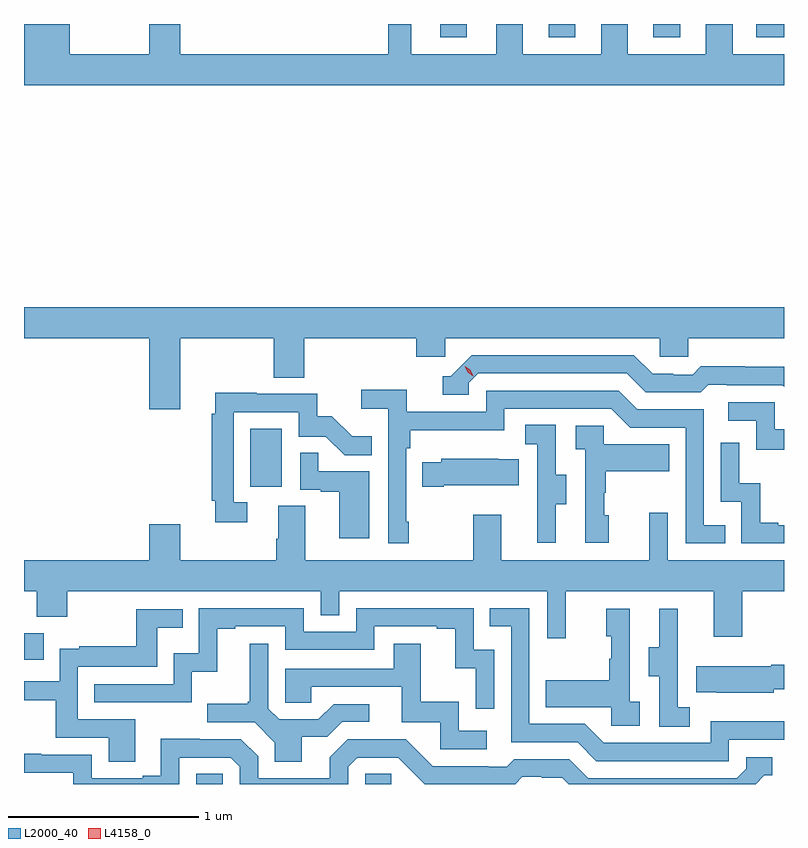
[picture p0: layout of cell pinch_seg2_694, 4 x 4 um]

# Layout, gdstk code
import gdstk
lib = gdstk.Library(unit=1e-6, precision=1e-09)
def R(c, l, rs):  # rectangles x0, y0, x1, y1
    for r in rs: c.add(gdstk.rectangle(r[:2], r[2:], *l))
def P(c, l, *ps):  # polygons
    for p in ps: c.add(gdstk.Polygon(p, *l))
L2000_40 = (2000, 40)
L4158_0 = (4158, 0)

pinch_seg2_694 = lib.new_cell('pinch_seg2_694')
R(pinch_seg2_694, L2000_40, [(1136.285,592.01,1136.424,592.064), (1137.174,592.01,1137.311,592.064), (1135.378,592.664,1135.481,592.804), (1136.57,593.574,1136.734,593.881), (1137.569,595.941,1137.709,596.01), (1138.139,595.941,1138.279,596.01), (1138.691,595.941,1138.831,596.01), (1139.231,595.941,1139.378,596.01)])
P(pinch_seg2_694, L2000_40, [(1139.378,595.852),(1139.107,595.852),(1139.107,596.01),(1138.967,596.01),(1138.967,595.852),(1138.555,595.852),(1138.555,596.01),(1138.415,596.01),(1138.415,595.852),(1138.003,595.852),(1138.003,596.01),(1137.864,596.01),(1137.864,595.852),(1137.415,595.852),(1137.415,596.01),(1137.294,596.01),(1137.294,595.852),(1136.2,595.852),(1136.2,596.01),(1136.036,596.01),(1136.036,595.852),(1135.618,595.852),(1135.618,596.01),(1135.378,596.01),(1135.378,595.688),(1139.378,595.688)],
  [(1136.2,594.356),(1136.692,594.356),(1136.692,594.148),(1136.852,594.148),(1136.852,594.356),(1137.443,594.356),(1137.443,594.258),(1137.594,594.258),(1137.594,594.356),(1138.725,594.356),(1138.725,594.258),(1138.875,594.258),(1138.875,594.356),(1139.378,594.356),(1139.378,594.52),(1135.378,594.52),(1135.378,594.356),(1136.036,594.356),(1136.036,593.982),(1136.2,593.982)],
  [(1137.72,594.123),(1137.768,594.171),(1138.551,594.171),(1138.65,594.072),(1138.939,594.072),(1138.978,594.111),(1139.077,594.111),(1139.077,594.108),(1139.37,594.108),(1139.378,594.1),(1139.378,594.205),(1139.172,594.205),(1139.172,594.208),(1138.939,594.208),(1138.897,594.165),(1138.794,594.165),(1138.794,594.168),(1138.687,594.168),(1138.588,594.267),(1137.735,594.267),(1137.624,594.156),(1137.581,594.156),(1137.581,594.06),(1137.72,594.06)],
  [(1137.403,593.389),(1137.39,593.389),(1137.39,593.777),(1137.41,593.777),(1137.41,593.873),(1137.906,593.873),(1137.906,593.985),(1138.47,593.985),(1138.569,593.886),(1138.86,593.886),(1138.86,593.277),(1139.069,593.277),(1139.069,593.373),(1138.956,593.373),(1138.956,593.982),(1138.606,593.982),(1138.507,594.081),(1137.81,594.081),(1137.81,593.97),(1137.392,593.97),(1137.392,594.086),(1137.153,594.086),(1137.153,593.984),(1137.294,593.984),(1137.294,593.277),(1137.403,593.277)],
  [(1136.554,593.493),(1136.481,593.493),(1136.481,593.967),(1136.823,593.967),(1136.823,593.838),(1136.967,593.838),(1137.065,593.74),(1137.209,593.74),(1137.209,593.839),(1137.105,593.839),(1136.998,593.946),(1136.922,593.946),(1136.922,594.063),(1136.603,594.063),(1136.603,594.068),(1136.384,594.068),(1136.384,593.96),(1136.365,593.96),(1136.365,593.5),(1136.384,593.5),(1136.384,593.388),(1136.554,593.388)],
  [(1139.378,593.877),(1139.328,593.877),(1139.328,594.018),(1139.085,594.018),(1139.085,593.922),(1139.232,593.922),(1139.232,593.769),(1139.378,593.769)],
  [(1138.177,593.482),(1138.231,593.482),(1138.231,593.637),(1138.176,593.637),(1138.176,593.9),(1138.017,593.9),(1138.017,593.797),(1138.08,593.797),(1138.08,593.493),(1138.079,593.493),(1138.079,593.28),(1138.177,593.28)],
  [(1138.456,593.424),(1138.431,593.424),(1138.431,593.543),(1138.441,593.543),(1138.441,593.657),(1138.775,593.657),(1138.775,593.797),(1138.428,593.797),(1138.428,593.895),(1138.281,593.895),(1138.281,593.771),(1138.332,593.771),(1138.332,593.28),(1138.456,593.28)],
  [(1139.378,593.373),(1139.347,593.373),(1139.347,593.386),(1139.252,593.386),(1139.252,593.594),(1139.142,593.594),(1139.142,593.806),(1139.046,593.806),(1139.046,593.496),(1139.154,593.496),(1139.154,593.277),(1139.378,593.277)],
  [(1137.196,593.655),(1136.927,593.655),(1136.927,593.753),(1136.832,593.753),(1136.832,593.559),(1136.939,593.559),(1136.939,593.547),(1137.038,593.547),(1137.038,593.304),(1137.196,593.304)],
  [(1137.586,593.582),(1137.983,593.582),(1137.983,593.719),(1137.875,593.719),(1137.875,593.722),(1137.573,593.722),(1137.573,593.704),(1137.475,593.704),(1137.475,593.575),(1137.586,593.575)],
  [(1138.229,593.024),(1139.009,593.024),(1139.009,592.785),(1139.157,592.785),(1139.157,593.024),(1139.378,593.024),(1139.378,593.188),(1138.767,593.188),(1138.767,593.437),(1138.67,593.437),(1138.67,593.188),(1137.889,593.188),(1137.889,593.428),(1137.742,593.428),(1137.742,593.188),(1136.857,593.188),(1136.857,593.474),(1136.717,593.474),(1136.717,593.3),(1136.705,593.3),(1136.705,593.188),(1136.2,593.188),(1136.2,593.377),(1136.036,593.377),(1136.036,593.188),(1135.378,593.188),(1135.378,593.024),(1135.445,593.024),(1135.445,592.889),(1135.605,592.889),(1135.605,593.024),(1136.94,593.024),(1136.94,592.897),(1137.036,592.897),(1137.036,593.024),(1138.131,593.024),(1138.131,592.776),(1138.229,592.776)],
  [(1137.852,592.716),(1137.744,592.716),(1137.744,592.935),(1137.126,592.935),(1137.126,592.812),(1136.85,592.812),(1136.85,592.935),(1136.298,592.935),(1136.298,592.699),(1136.166,592.699),(1136.166,592.536),(1135.747,592.536),(1135.747,592.44),(1136.262,592.44),(1136.262,592.601),(1136.395,592.601),(1136.395,592.827),(1136.491,592.827),(1136.491,592.839),(1136.754,592.839),(1136.754,592.716),(1137.222,592.716),(1137.222,592.839),(1137.551,592.839),(1137.551,592.827),(1137.647,592.827),(1137.647,592.619),(1137.756,592.619),(1137.756,592.407),(1137.852,592.407)],
  [(1139.088,592.242),(1139.378,592.242),(1139.378,592.339),(1138.992,592.339),(1138.992,592.227),(1138.428,592.227),(1138.329,592.326),(1138.038,592.326),(1138.038,592.935),(1137.829,592.935),(1137.829,592.839),(1137.942,592.839),(1137.942,592.23),(1138.292,592.23),(1138.391,592.131),(1139.088,592.131)],
  [(1138.882,592.415),(1138.818,592.415),(1138.818,592.719),(1138.82,592.719),(1138.82,592.933),(1138.721,592.933),(1138.721,592.731),(1138.667,592.731),(1138.667,592.576),(1138.722,592.576),(1138.722,592.312),(1138.882,592.312)],
  [(1138.618,592.442),(1138.566,592.442),(1138.566,592.933),(1138.442,592.933),(1138.442,592.788),(1138.468,592.788),(1138.468,592.67),(1138.458,592.67),(1138.458,592.555),(1138.123,592.555),(1138.123,592.415),(1138.47,592.415),(1138.47,592.317),(1138.618,592.317)],
  [(1135.963,592.35),(1135.662,592.35),(1135.662,592.626),(1136.079,592.626),(1136.079,592.832),(1136.213,592.832),(1136.213,592.929),(1135.968,592.929),(1135.968,592.735),(1135.669,592.735),(1135.669,592.723),(1135.566,592.723),(1135.566,592.551),(1135.378,592.551),(1135.378,592.45),(1135.546,592.45),(1135.546,592.254),(1135.823,592.254),(1135.823,592.126),(1135.963,592.126)],
  [(1136.839,592.258),(1136.974,592.258),(1137.054,592.338),(1137.196,592.338),(1137.196,592.431),(1137.008,592.431),(1136.927,592.35),(1136.721,592.35),(1136.664,592.407),(1136.664,592.747),(1136.567,592.747),(1136.567,592.444),(1136.556,592.444),(1136.556,592.432),(1136.343,592.432),(1136.343,592.335),(1136.592,592.335),(1136.699,592.228),(1136.699,592.126),(1136.839,592.126)],
  [(1137.814,592.29),(1137.666,592.29),(1137.666,592.444),(1137.467,592.444),(1137.467,592.747),(1137.323,592.747),(1137.323,592.617),(1136.754,592.617),(1136.754,592.437),(1136.891,592.437),(1136.891,592.521),(1137.365,592.521),(1137.365,592.335),(1137.57,592.335),(1137.57,592.194),(1137.814,592.194)],
  [(1139.325,592.508),(1139.378,592.508),(1139.378,592.638),(1139.312,592.638),(1139.312,592.63),(1138.915,592.63),(1138.915,592.493),(1139.023,592.493),(1139.023,592.49),(1139.325,592.49)],
  [(1136.196,592.149),(1136.466,592.149),(1136.514,592.101),(1136.514,592.01),(1137.084,592.01),(1137.084,592.101),(1137.132,592.149),(1137.348,592.149),(1137.487,592.01),(1137.964,592.01),(1138.001,592.047),(1138.104,592.047),(1138.104,592.044),(1138.211,592.044),(1138.245,592.01),(1139.228,592.01),(1139.274,592.056),(1139.317,592.056),(1139.317,592.152),(1139.178,592.152),(1139.178,592.089),(1139.13,592.041),(1138.347,592.041),(1138.248,592.14),(1137.959,592.14),(1137.92,592.101),(1137.821,592.101),(1137.821,592.104),(1137.528,592.104),(1137.387,592.245),(1137.081,592.245),(1136.987,592.151),(1136.987,592.041),(1136.61,592.041),(1136.61,592.155),(1136.52,592.245),(1136.304,592.245),(1136.304,592.247),(1136.099,592.247),(1136.099,592.054),(1136.003,592.054),(1136.003,592.041),(1135.734,592.041),(1135.734,592.164),(1135.469,592.164),(1135.469,592.169),(1135.378,592.169),(1135.378,592.068),(1135.638,592.068),(1135.638,592.01),(1136.196,592.01)])
P(pinch_seg2_694, L4158_0, [(1137.743,594.156),(1137.713,594.176),(1137.697,594.209),(1137.697,594.209),(1137.697,594.209),(1137.727,594.189),(1137.743,594.157),(1137.743,594.156)])

lib.write_gds('pinch_seg2_694.gds')
